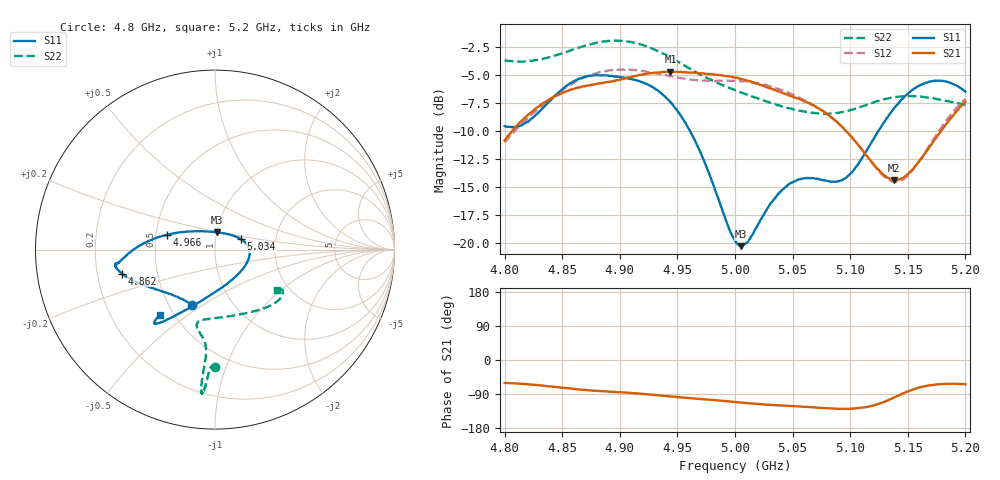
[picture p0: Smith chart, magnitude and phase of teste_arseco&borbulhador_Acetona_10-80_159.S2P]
! Network Analyzer HP8722D
! Hewlett-Packard
! Data name: Linha & Wilkinson
! Saver's name: Rodrigo Anjos
! Comments: Teste da utilização de aquisição
! continua pelo VNA HP8722D
! Time and date: 17/4/2025 15:41
!  Frequency  S11  S21  S12  S22
# HZ  S  MA R 50
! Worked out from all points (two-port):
!   401 points, 4.8 GHz to 5.2 GHz, reference 50 ohm
!   highest |S21| = -4.67 dB at 4.944 GHz (marker M1); lowest = -14.4 dB at 5.138 GHz (marker M2)
!   |S21| within 3 dB of the highest: 4.831 GHz to 5.068 GHz (236.6 MHz wide, 4.78 % of centre); 5.197208 GHz to end of sweep
!   lowest |S11| = -20.3 dB at 5.005 GHz (marker M3), VSWR 1.21, Z = 49.9 + j9.7 ohm
!   |S11| at or under -10 dB: 4.961 GHz to 5.124 GHz (163.3 MHz wide, 3.24 % of centre)
!   |S22| runs from -8.5 to -1.9 dB; largest |S21 - S12| = 0.87
!   S11 on the Smith chart (normalised r, x): 4.8 GHz: 0.65, -0.45; 4.862 GHz: 0.31, -0.12; 4.966 GHz: 0.57, +0.10; 5.034 GHz: 1.33, +0.16; 5.2 GHz: 0.42, -0.39
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4.8e9  0.3333 -113.0  0.2871 -60.8  0.2812 -174.8  0.6552 -89.9
4.819e9  0.3468 -133.0  0.3688 -63.8  0.3572 -173.5  0.6503 -91.5
4.862e9  0.5356 -165.5  0.4946 -76.9  0.5279 -176.6  0.7415 -93.8
4.867e9  0.5477 -167.5  0.5006 -78.7  0.5432 -177.7  0.7563 -93.9
4.899e9  0.5535 -172.0  0.5356 -84.9  0.5973 175.6  0.8029 -95.3
4.934e9  0.4764 -177.9  0.5785 -93.3  0.5719 172.0  0.7171 -95.7
4.944e9  0.4269 177.5  0.5843 -96.2  0.5566 172.0  0.6759 -95.5
4.966e9  0.2817 163.0  0.5766 -101.9  0.5356 173.9  0.581 -94.9
5e9  0.1022 102.7  0.5493 -111.0  0.532 176.3  0.4821 -99.1
5.005e9  0.09658 84.9  0.5416 -112.3  0.53 176.3  0.4713 -100.3
5.012e9  0.1028 62.1  0.5293 -114.2  0.5251 175.9  0.4574 -101.8
5.034e9  0.1571 21.5  0.4844 -119.0  0.4954 175.1  0.4197 -103.5
5.048e9  0.1847 7.0  0.455 -121.1  0.4671 174.3  0.3995 -100.4
5.067e9  0.1951 -13.2  0.4156 -124.7  0.417 173.8  0.383 -90.8
5.085e9  0.1878 -41.2  0.3598 -128.2  0.3587 173.7  0.3798 -77.3
5.097e9  0.1965 -65.8  0.3147 -128.7  0.3149 174.6  0.3888 -67.4
5.134e9  0.3754 -116.1  0.1939 -104.7  0.1906 -157.7  0.4447 -42.9
5.138e9  0.4001 -118.4  0.1907 -99.2  0.1879 -151.5  0.4483 -41.2
5.15e9  0.4653 -123.8  0.203 -83.1  0.2 -132.7  0.4538 -36.7
5.17e9  0.5284 -128.6  0.2734 -66.4  0.2789 -112.5  0.4454 -31.8
5.184e9  0.5263 -129.9  0.3442 -63.0  0.3561 -107.1  0.4315 -30.9
5.2e9  0.4755 -130.3  0.4288 -64.2  0.4413 -106.3  0.4143 -33.2
